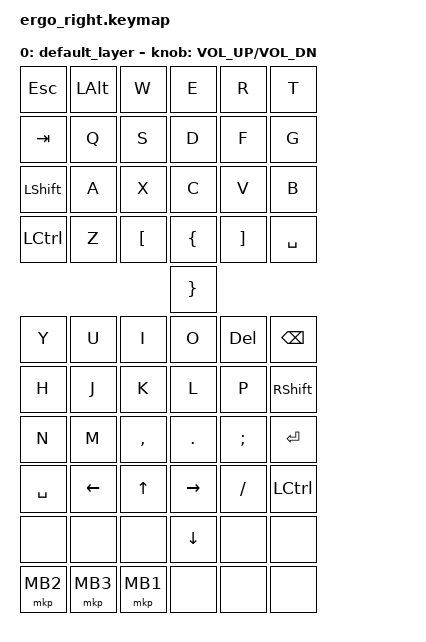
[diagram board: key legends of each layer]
#include <behaviors.dtsi>
#include <dt-bindings/zmk/keys.h>
#include <dt-bindings/zmk/pointing.h>

/ {
    keymap {
        compatible = "zmk,keymap";

        default_layer {
            bindings = <
            /* ==============================
             * LEFT HALF (25 Keys) 
             * ============================== */
                &kp ESC    &kp LALT   &kp W      &kp E      &kp R      &kp T
                &kp TAB    &kp Q      &kp S      &kp D      &kp F      &kp G
                &kp LSHFT  &kp A      &kp X      &kp C      &kp V      &kp B
                &kp LCTRL  &kp Z      &kp LBKT   &kp LBRC   &kp RBKT   &kp SPACE
                                                 &kp RBRC

            /* ==============================
             * RIGHT HALF (36 Keys) 
             * ============================== */
                &kp Y      &kp U      &kp I      &kp O      &kp DEL    &kp BSPC
                &kp H      &kp J      &kp K      &kp L      &kp P      &kp RSHFT
                &kp N      &kp M      &kp COMMA  &kp DOT    &kp SEMI   &kp RET
                &kp SPACE  &kp LEFT   &kp UP     &kp RIGHT  &kp FSLH   &kp LCTRL
                &none      &none      &none      &kp DOWN   &none      &none
                &mkp MB2   &mkp MB3   &mkp MB1   &none      &none      &none
            >;

            /* Left Rotary Encoder */
            sensor-bindings = <&inc_dec_kp C_VOL_UP C_VOL_DN>;
        };
    };
};
